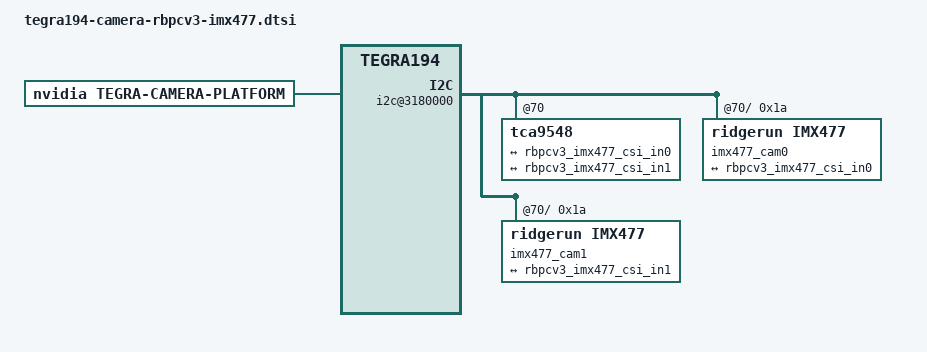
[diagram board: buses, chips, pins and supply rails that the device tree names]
/*
 * Copyright (c) 2021-2022, NVIDIA CORPORATION.  All rights reserved.
 *
 * This program is free software; you can redistribute it and/or modify
 * it under the terms of the GNU General Public License as published by
 * the Free Software Foundation; either version 2 of the License, or
 * (at your option) any later version.
 *
 * This program is distributed in the hope that it will be useful, but WITHOUT
 * ANY WARRANTY; without even the implied warranty of MERCHANTABILITY or
 * FITNESS FOR A PARTICULAR PURPOSE.  See the GNU General Public License for
 * more details.
 *
 * You should have received a copy of the GNU General Public License
 * along with this program.  If not, see <http://www.gnu.org/licenses/>.
 */

/ {
		tegra-capture-vi  {
			num-channels = <2>;
			ports {
				#address-cells = <1>;
				#size-cells = <0>;
				port@0 {
					reg = <0>;
					rbpcv3_imx477_vi_in0: endpoint {
						port-index = <0>;
						bus-width = <2>;
						remote-endpoint = <&rbpcv3_imx477_csi_out0>;
					};
				};
				port@1 {
					reg = <1>;
					rbpcv3_imx477_vi_in1: endpoint {
						port-index = <4>;
						bus-width = <2>;
						remote-endpoint = <&rbpcv3_imx477_csi_out1>;
					};
				};
			};
		};

	host1x@13e00000 {
		nvcsi@15a00000 {
			num-channels = <2>;
			#address-cells = <1>;
			#size-cells = <0>;
			channel@0 {
				reg = <0>;
				ports {
					#address-cells = <1>;
					#size-cells = <0>;
					port@0 {
						reg = <0>;
						rbpcv3_imx477_csi_in0: endpoint@0 {
							port-index = <0>;
							bus-width = <2>;
							remote-endpoint = <&rbpcv3_imx477_out0>;
						};
					};
					port@1 {
						reg = <1>;
						rbpcv3_imx477_csi_out0: endpoint@1 {
							remote-endpoint = <&rbpcv3_imx477_vi_in0>;
						};
					};
				};
			};
			channel@1 {
				reg = <1>;
				ports {
					#address-cells = <1>;
					#size-cells = <0>;
					port@0 {
						reg = <0>;
						rbpcv3_imx477_csi_in1: endpoint@2 {
							port-index = <2>;
							bus-width = <2>;
							remote-endpoint = <&rbpcv3_imx477_out1>;
						};
					};
					port@1 {
						reg = <1>;
						rbpcv3_imx477_csi_out1: endpoint@3 {
							remote-endpoint = <&rbpcv3_imx477_vi_in1>;
						};
					};
				};
			};
		};
	};

i2c@3180000{ 		
	tca9548@70 {
		i2c@0 {
			imx477_cam0: rbpcv3_imx477_a@1a {
					status="okay";
					compatible = "ridgerun,imx477";
					/* I2C device address */
					reg = <0x1a>;

					/* V4L2 device node location */
					devnode = "video0";

					/* Physical dimensions of sensor */
					physical_w = "7.564";
					physical_h = "5.476";

					sensor_model = "imx477";

					use_sensor_mode_id = "true";

					mode0 { /* IMX477_MODE_4032X3040 */
						mclk_khz = "24000";
						num_lanes = "2";
						tegra_sinterface = "serial_a";
						phy_mode = "DPHY";
						discontinuous_clk = "no";
						dpcm_enable = "false";
						cil_settletime = "0";

					active_w = "3840";
					active_h = "2160";
						mode_type = "bayer";
						pixel_phase = "rggb";
						csi_pixel_bit_depth = "10";
						readout_orientation = "90";
					line_length = "11200";
						inherent_gain = "1";
						mclk_multiplier = "80";
					pix_clk_hz = "300000000";

						gain_factor = "16";
						framerate_factor = "1000000";
						exposure_factor = "1000000";
						min_gain_val = "16"; /* 1.00x */
						max_gain_val = "356"; /* 22x */
						step_gain_val = "1";
						default_gain = "16"; /* 1.00x */
						min_hdr_ratio = "1";
						max_hdr_ratio = "1";
						min_framerate = "2000000"; /* 2.0 fps */
						max_framerate = "30000000"; /* 30.0 fps */
						step_framerate = "1";
						default_framerate = "30000000"; /* 30.0 fps */
						min_exp_time = "13"; /* us */
						max_exp_time = "683709"; /* us */
						step_exp_time = "1";
						default_exp_time = "2495"; /* us */

						embedded_metadata_height = "2";
					};
					mode1 { /* IMX477_MODE_1920X1080 */
						mclk_khz = "24000";
						num_lanes = "2";
						tegra_sinterface = "serial_a";
						phy_mode = "DPHY";
						discontinuous_clk = "no";
						dpcm_enable = "false";
						cil_settletime = "0";

						active_w = "1920";
						active_h = "1080";
						mode_type = "bayer";
						pixel_phase = "rggb";
						csi_pixel_bit_depth = "10";
						readout_orientation = "90";
					line_length = "7000";
						inherent_gain = "1";
						mclk_multiplier = "80";
					pix_clk_hz = "300000000";

						gain_factor = "16";
						framerate_factor = "1000000";
						exposure_factor = "1000000";
						min_gain_val = "16"; /* 1.00x */
						max_gain_val = "356"; /* 22x */
						step_gain_val = "1";
						default_gain = "16"; /* 1.00x */
						min_hdr_ratio = "1";
						max_hdr_ratio = "1";
						min_framerate = "2000000"; /* 2.0 fps */
						max_framerate = "60000000"; /* 60.0 fps */
						step_framerate = "1";
						default_framerate = "60000000"; /* 60.0 fps */
						min_exp_time = "13"; /* us */
						max_exp_time = "683709"; /* us */
						step_exp_time = "1";
						default_exp_time = "2495"; /* us */

						embedded_metadata_height = "2";
					};

				ports {
					#address-cells = <1>;
					#size-cells = <0>;

					port@0 {
						reg = <0>;
						rbpcv3_imx477_out0: endpoint {
							port-index = <0>;
							bus-width = <2>;
							remote-endpoint = <&rbpcv3_imx477_csi_in0>;
						};
					};
				};
			};
		};
		i2c@1 {
			imx477_cam1: rbpcv3_imx477_c@1a {
				status="okay";
					compatible = "ridgerun,imx477";
					/* I2C device address */
					reg = <0x1a>;

					/* V4L2 device node location */
					devnode = "video1";

					/* Physical dimensions of sensor */
					physical_w = "7.564";
					physical_h = "5.476";

					sensor_model = "imx477";

					use_sensor_mode_id = "true";

					mode0 { /* IMX477_MODE_4032X3040 */
						mclk_khz = "24000";
						num_lanes = "2";
						tegra_sinterface = "serial_c";
						phy_mode = "DPHY";
						discontinuous_clk = "no";
						dpcm_enable = "false";
						cil_settletime = "0";

					active_w = "3840";
					active_h = "2160";
						mode_type = "bayer";
						pixel_phase = "rggb";
						csi_pixel_bit_depth = "10";
						readout_orientation = "90";
					line_length = "11200";
						inherent_gain = "1";
						mclk_multiplier = "80";
					pix_clk_hz = "300000000";

						gain_factor = "16";
						framerate_factor = "1000000";
						exposure_factor = "1000000";
						min_gain_val = "16"; /* 1.00x */
						max_gain_val = "356"; /* 22x */
						step_gain_val = "1";
						default_gain = "16"; /* 1.00x */
						min_hdr_ratio = "1";
						max_hdr_ratio = "1";
						min_framerate = "2000000"; /* 2.0 fps */
						max_framerate = "30000000"; /* 30.0 fps */
						step_framerate = "1";
						default_framerate = "30000000"; /* 30.0 fps */
						min_exp_time = "13"; /* us */
						max_exp_time = "683709"; /* us */
						step_exp_time = "1";
						default_exp_time = "2495"; /* us */

						embedded_metadata_height = "2";
					};
					mode1 { /* IMX477_MODE_1920X1080 */
						mclk_khz = "24000";
						num_lanes = "2";
						tegra_sinterface = "serial_c";
						phy_mode = "DPHY";
						discontinuous_clk = "no";
						dpcm_enable = "false";
						cil_settletime = "0";

						active_w = "1920";
						active_h = "1080";
						mode_type = "bayer";
						pixel_phase = "rggb";
						csi_pixel_bit_depth = "10";
						readout_orientation = "90";
					line_length = "7000";
						inherent_gain = "1";
						mclk_multiplier = "80";
					pix_clk_hz = "300000000";

						gain_factor = "16";
						framerate_factor = "1000000";
						exposure_factor = "1000000";
						min_gain_val = "16"; /* 1.00x */
						max_gain_val = "356"; /* 22x */
						step_gain_val = "1";
						default_gain = "16"; /* 1.00x */
						min_hdr_ratio = "1";
						max_hdr_ratio = "1";
						min_framerate = "2000000"; /* 2.0 fps */
						max_framerate = "60000000"; /* 60.0 fps */
						step_framerate = "1";
						default_framerate = "60000000"; /* 60.0 fps */
						min_exp_time = "13"; /* us */
						max_exp_time = "683709"; /* us */
						step_exp_time = "1";
						default_exp_time = "2495"; /* us */

						embedded_metadata_height = "2";
					};

				ports {
					#address-cells = <1>;
					#size-cells = <0>;

					port@0 {
						reg = <0>;
						rbpcv3_imx477_out1: endpoint {
							port-index = <2>;
							bus-width = <2>;
							remote-endpoint = <&rbpcv3_imx477_csi_in1>;
						};
					};
				};
			};
		};
	};
};
};

/ {
	tegra-camera-platform {
		compatible = "nvidia, tegra-camera-platform";

		/**
		* Physical settings to calculate max ISO BW
		*
		* num_csi_lanes = <>;
		* Total number of CSI lanes when all cameras are active
		*
		* max_lane_speed = <>;
		* Max lane speed in Kbit/s
		*
		* min_bits_per_pixel = <>;
		* Min bits per pixel
		*
		* vi_peak_byte_per_pixel = <>;
		* Max byte per pixel for the VI ISO case
		*
		* vi_bw_margin_pct = <>;
		* Vi bandwidth margin in percentage
		*
		* max_pixel_rate = <>;
		* Max pixel rate in Kpixel/s for the ISP ISO case
		*
		* isp_peak_byte_per_pixel = <>;
		* Max byte per pixel for the ISP ISO case
		*
		* isp_bw_margin_pct = <>;
		* Isp bandwidth margin in percentage
		*/
		num_csi_lanes = <4>;
		max_lane_speed = <1500000>;
		min_bits_per_pixel = <10>;
		vi_peak_byte_per_pixel = <2>;
		vi_bw_margin_pct = <25>;
		max_pixel_rate = <7500000>;
		isp_peak_byte_per_pixel = <5>;
		isp_bw_margin_pct = <25>;

		/**
		 * The general guideline for naming badge_info contains 3 parts, and is as follows,
		 * The first part is the camera_board_id for the module; if the module is in a FFD
		 * platform, then use the platform name for this part.
		 * The second part contains the position of the module, ex. "rear" or "front".
		 * The third part contains the last 6 characters of a part number which is found
		 * in the module's specsheet from the vendor.
		 */
		modules {
			module0 {
				badge = "jakku_front_IMX477";
				position = "front";
				orientation = "1";
				drivernode0 {
					pcl_id = "v4l2_sensor";
					devname = "imx477 30-001a";
					proc-device-tree = "/proc/device-tree/i2c@3180000/tca9548@70/i2c@0/rbpcv3_imx477_a@1a";
				};
			};
			module1 {
				badge = "jakku_rear_IMX477";
				position = "rear";
				orientation = "1";
				drivernode0 {
					pcl_id = "v4l2_sensor";
					devname = "imx477 31-001a";
					proc-device-tree = "/proc/device-tree/i2c@3180000/tca9548@70/i2c@1/rbpcv3_imx477_c@1a";
				};
			};
		};
	};
};
